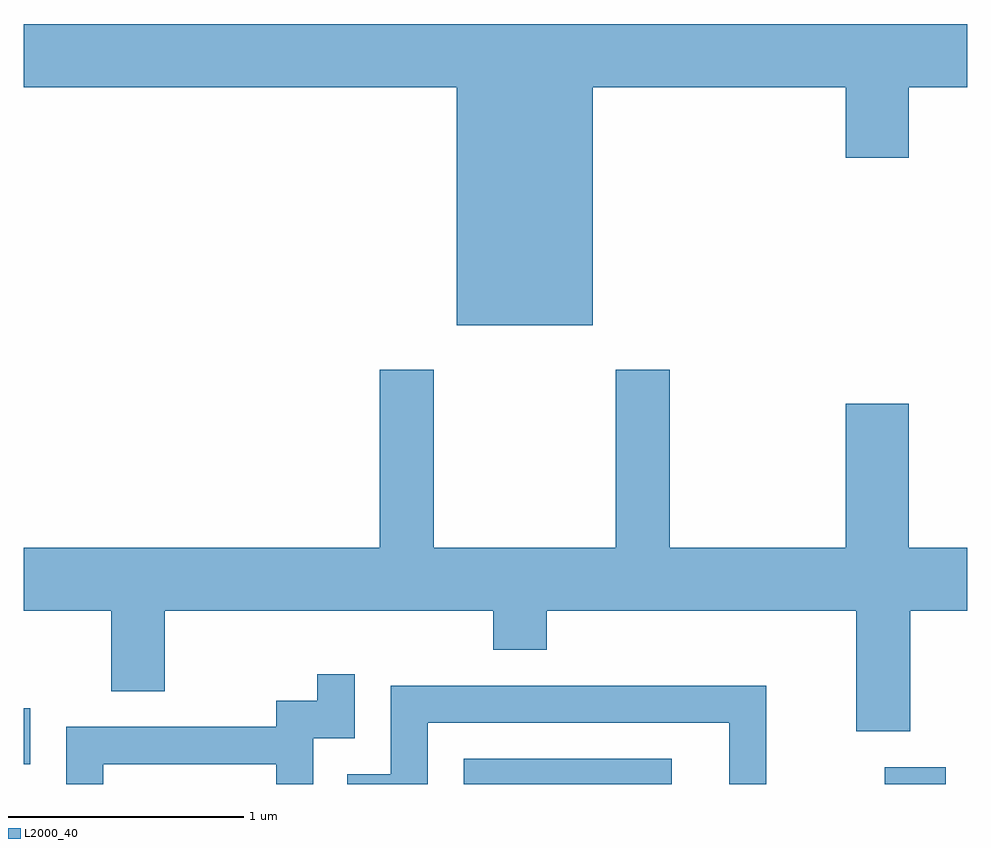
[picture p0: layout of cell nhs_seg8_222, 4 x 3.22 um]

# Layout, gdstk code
import gdstk
lib = gdstk.Library(unit=1e-6, precision=1e-09)
def R(c, l, rs):  # rectangles x0, y0, x1, y1
    for r in rs: c.add(gdstk.rectangle(r[:2], r[2:], *l))
def P(c, l, *ps):  # polygons
    for p in ps: c.add(gdstk.Polygon(p, *l))
L2000_40 = (2000, 40)

nhs_seg8_222 = lib.new_cell('nhs_seg8_222')
R(nhs_seg8_222, L2000_40, [(193.476,1842.342,194.358,1842.449), (195.261,1842.342,195.519,1842.414), (191.611,1842.426,191.639,1842.663)])
P(nhs_seg8_222, L2000_40, [(194.024,1845.296),(195.096,1845.296),(195.096,1844.996),(195.364,1844.996),(195.364,1845.296),(195.611,1845.296),(195.611,1845.564),(191.611,1845.564),(191.611,1845.296),(193.446,1845.296),(193.446,1844.286),(194.024,1844.286)],
  [(195.369,1843.076),(195.611,1843.076),(195.611,1843.344),(195.364,1843.344),(195.364,1843.954),(195.096,1843.954),(195.096,1843.344),(194.349,1843.344),(194.349,1844.099),(194.121,1844.099),(194.121,1843.344),(193.349,1843.344),(193.349,1844.099),(193.121,1844.099),(193.121,1843.344),(191.611,1843.344),(191.611,1843.076),(191.981,1843.076),(191.981,1842.736),(192.209,1842.736),(192.209,1843.076),(193.601,1843.076),(193.601,1842.911),(193.829,1842.911),(193.829,1843.076),(195.141,1843.076),(195.141,1842.566),(195.369,1842.566)],
  [(191.949,1842.426),(192.681,1842.426),(192.681,1842.342),(192.839,1842.342),(192.839,1842.536),(193.014,1842.536),(193.014,1842.808),(192.856,1842.808),(192.856,1842.694),(192.681,1842.694),(192.681,1842.584),(191.791,1842.584),(191.791,1842.342),(191.949,1842.342)],
  [(193.324,1842.601),(194.601,1842.601),(194.601,1842.342),(194.759,1842.342),(194.759,1842.759),(193.166,1842.759),(193.166,1842.384),(192.983,1842.384),(192.983,1842.342),(193.324,1842.342)])

lib.write_gds('nhs_seg8_222.gds')
